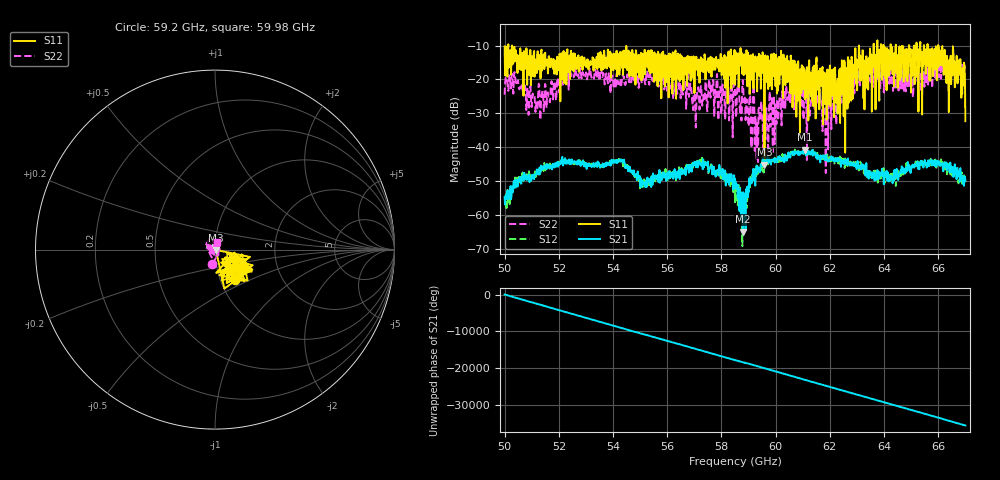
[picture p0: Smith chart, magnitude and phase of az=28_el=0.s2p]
!Created with skrf (http://scikit-rf.org).
# GHz S RI R 50.0
!freq ReS11 ImS11 ReS21 ImS21 ReS12 ImS12 ReS22 ImS22
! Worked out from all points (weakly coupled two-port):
!   1001 points, 50 GHz to 67 GHz, reference 50 ohm
!   highest |S21| = -40.78 dB at 61.07 GHz (marker M1); lowest = -64.9 dB at 58.79 GHz (marker M2)
!   lowest |S11| = -45.2 dB at 59.59 GHz (marker M3), VSWR 1.01, Z = 50.5 - j0.207 ohm
!   |S11| at or under -10 dB: 50.27 GHz to 63.07 GHz (12.8 GHz wide, 22.6 % of centre); 63.07 GHz to 63.62 GHz (542.2 MHz wide, 0.856 % of centre); 66 GHz to end of sweep (the widest 3 of 17)
!   |S22| runs from -47.7 to -13.8 dB; largest |S21 - S12| = 0.0023
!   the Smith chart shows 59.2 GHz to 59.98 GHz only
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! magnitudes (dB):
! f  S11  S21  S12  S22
! 50 GHz  -10.3  -54.8  -55.0  -24.5
! 50.42 GHz  -14.4  -51.5  -51.9  -21.7
! 51.38 GHz  -17.4  -46.7  -46.5  -24.2
! 52.84 GHz  -14.3  -44.5  -44.3  -19.7
! 55.68 GHz  -13.6  -50.4  -49.2  -22.1
! 57.24 GHz  -13.4  -44.6  -44.2  -21.9
! 57.62 GHz  -15.4  -45.8  -45.0  -22.6
! 58.5 GHz  -21.5  -49.3  -56.3  -23.4
! 58.79 GHz  -13.6  -64.9  -59.0  -20.2
! 59.3 GHz  -14.7  -45.6  -45.4  -43.7
! 59.59 GHz  -45.2  -43.9  -44.1  -32.2
! 60.64 GHz  -14.4  -41.4  -42.4  -21.7
! 61.07 GHz  -18.3  -40.8  -40.5  -20.7
! 61.34 GHz  -26.4  -42.0  -41.3  -24.3
! 61.88 GHz  -31.9  -43.9  -43.2  -22.1
! 62.61 GHz  -20.2  -43.8  -44.6  -21.4
! 63.01 GHz  -23.2  -46.1  -46.0  -20.1
! 63.33 GHz  -22.5  -45.9  -46.0  -19.9
! 64.18 GHz  -18.9  -50.2  -48.6  -18.2
! 66.08 GHz  -15.7  -44.8  -45.5  -15.7
! 66.75 GHz  -18.7  -47.1  -50.7  -18.8
! 67 GHz  -32.3  -50.0  -49.8  -15.9
